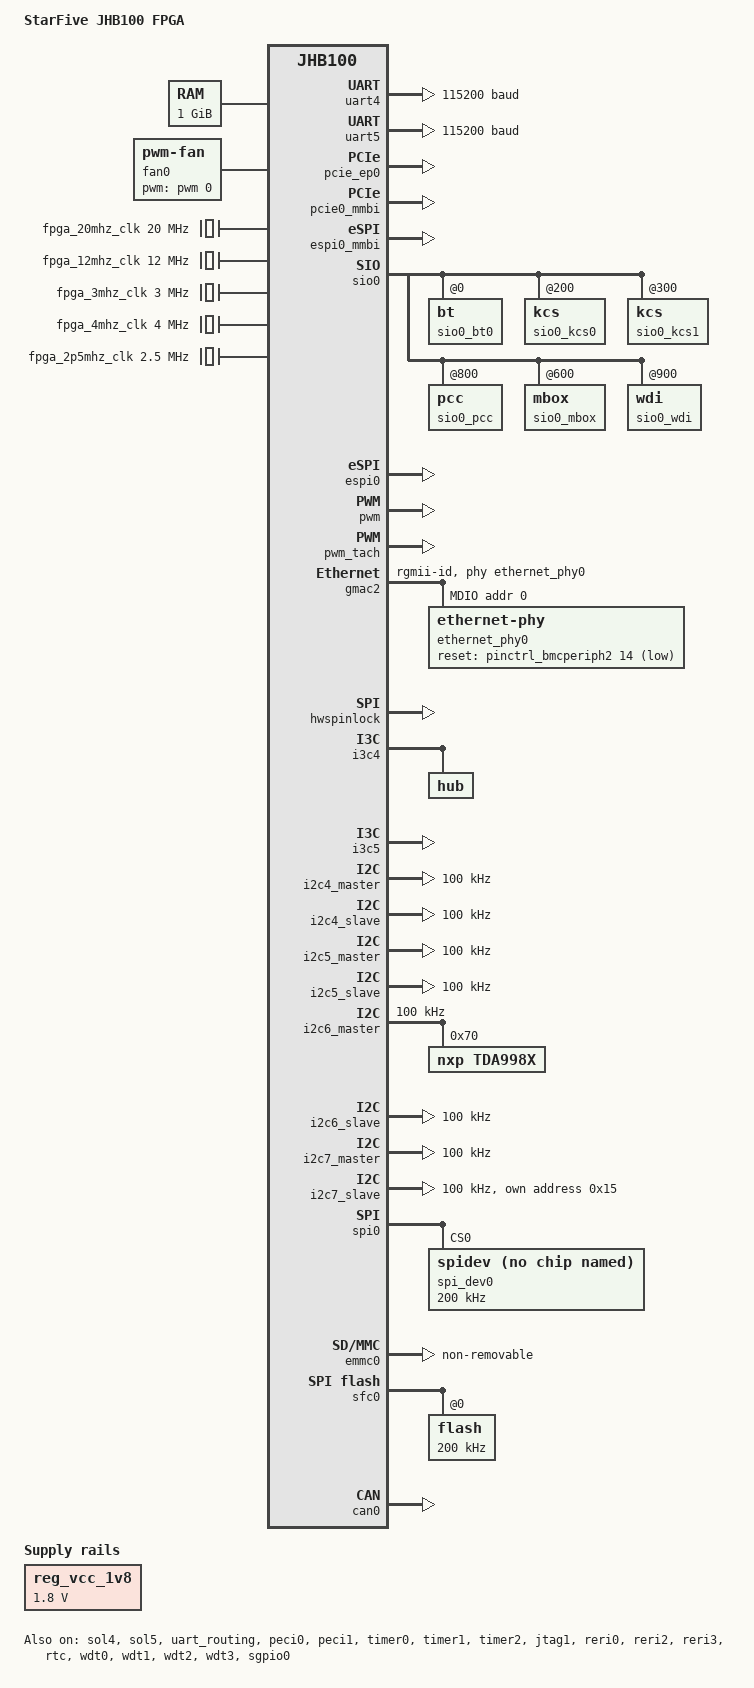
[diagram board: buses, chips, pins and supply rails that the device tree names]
// SPDX-License-Identifier: GPL-2.0 OR MIT
/*
 * Copyright (c) 2024 StarFive Technology Co., Ltd.
 */

#include "jhb100.dtsi"
#include "jhb100-evb1-sfc0-flash.dtsi"
#include <dt-bindings/gpio/gpio.h>
#include <dt-bindings/i2c/i2c.h>

/ {
	model = "StarFive JHB100 FPGA";
	compatible = "starfive,jhb100-fpga", "starfive,jhb100";

	aliases {
		serial0 = &uart5;
		serial1 = &uart4;
		ethernet0 = &gmac0;
		ethernet1 = &gmac1;
		ethernet2 = &gmac2;
		ethernet3 = &gmac3;

		i2c0 = &i2c0_master;
		i2c1 = &i2c0_slave;

		i2c2 = &i2c1_master;
		i2c3 = &i2c1_slave;

		i2c4 = &i2c2_master;
		i2c5 = &i2c2_slave;

		i2c6 = &i2c3_master;
		i2c7 = &i2c3_slave;

		i2c8 = &i2c4_master;
		i2c9 = &i2c4_slave;

		i2c10 = &i2c5_master;
		i2c11 = &i2c5_slave;

		i2c12 = &i2c6_master;
		i2c13 = &i2c6_slave;

		i2c14 = &i2c7_master;
		i2c15 = &i2c7_slave;

		i2c16 = &i2c8_master;
		i2c17 = &i2c8_slave;

		i2c18 = &i2c9_master;
		i2c19 = &i2c9_slave;

		i2c20 = &i2c10_master;
		i2c21 = &i2c10_slave;

		i2c22 = &i2c11_master;
		i2c23 = &i2c11_slave;

		i2c24 = &i2c12_master;
		i2c25 = &i2c12_slave;

		i2c26 = &i2c13_master;
		i2c27 = &i2c13_slave;

		i2c28 = &i2c14_master;
		i2c29 = &i2c14_slave;

		i2c30 = &i2c15_master;
		i2c31 = &i2c15_slave;

		i3c0 = &i3c0;
		i3c1 = &i3c1;
		i3c2 = &i3c2;
		i3c3 = &i3c3;
		i3c4 = &i3c4;
		i3c5 = &i3c5;
		i3c6 = &i3c6;
		i3c7 = &i3c7;
		i3c8 = &i3c8;
		i3c9 = &i3c9;
		i3c10 = &i3c10;
		i3c11 = &i3c11;
		i3c12 = &i3c12;
		i3c13 = &i3c13;
		i3c14 = &i3c14;
		i3c15 = &i3c15;
	};

	reg_vcc_1v8: vcc-1v8 {
		compatible = "regulator-fixed";
		regulator-name = "vcc-1v8";
		regulator-min-microvolt = <1800000>;
		regulator-max-microvolt = <1800000>;
	};

	chosen {
		stdout-path = "serial0:115200n8";
	};

	cpus {
		timebase-frequency = <4000000>;
	};

	memory {
		device_type = "memory";
		reg = <0x0 0x40000000 0x0 0x40000000>;	/* 1GB */
	};

	reserved-memory {
		#address-cells = <0x2>;
		#size-cells = <0x2>;
		ranges;

		#include "jhb100-reserved-mem.dtsi"

		linux,cma {
			compatible = "shared-dma-pool";
			reusable;
			size = <0x0 0x08000000>;
			alignment = <0x0 0x1000>;
			alloc-ranges = <0x0 0x40000000 0x2 0x0>;
			linux,cma-default;
		};
	};

	fan0: pwm-fan0 {
		compatible = "pwm-fan";
		pwms = <&pwm 0 40000 0>;
		cooling-min-state = <0>;
		cooling-max-state = <3>;
		#cooling-cells = <2>;
		cooling-levels = <0 100 180 255>;
	};

	soc {
		fpga_20mhz_clk: fpga_20mhz_clk {
			compatible = "fixed-clock";
			#clock-cells = <0>;
			clock-frequency = <20000000>;
		};

		fpga_12mhz_clk: fpga_12mhz_clk {
			compatible = "fixed-clock";
			#clock-cells = <0>;
			clock-frequency = <12000000>;
		};

		fpga_3mhz_clk: fpga_3mhz_clk {
			compatible = "fixed-clock";
			#clock-cells = <0>;
			clock-frequency = <3000000>;
		};

		fpga_4mhz_clk: fpga_4mhz_clk {
			compatible = "fixed-clock";
			#clock-cells = <0>;
			clock-frequency = <4000000>;
		};

		fpga_2p5mhz_clk: fpga_2p5mhz_clk {
			compatible = "fixed-clock";
			#clock-cells = <0>;
			clock-frequency = <2500000>;
		};
	};
};

&pinctrl_adc0 {
	status = "disabled";
};

&pinctrl_adc1 {
	status = "disabled";
};

&pinctrl_sys0h {

	gpio-line-names =
		"ESPI_IO0", "ESPI_IO1", "ESPI_IO2", "ESPI_IO3",
		"ESPI_CLK", "ESPI_CS", "ESPI_ALERT", "ESPI_RESET";

	espi0_pins: espi0-grp {
		espi0-rst-pins {
			pinmux = <PINMUX(PADNUM_SYSTOP_SYS0H_GPIO_A11,
					 FUNC_SYSTOP_SYS0H_ESPI0_RESET)>;
			input-enable;
		};

		espi0-alt-pins {
			pinmux = <PINMUX(PADNUM_SYSTOP_SYS0H_GPIO_A10,
					 FUNC_SYSTOP_SYS0H_ESPI0_ALERT)>;
		};

		espi0-cs-pins {
			pinmux = <PINMUX(PADNUM_SYSTOP_SYS0H_GPIO_A9,
					 FUNC_SYSTOP_SYS0H_ESPI0_CS)>;
			bias-pull-up;
			input-enable;
		};

		espi0-clk-pins {
			pinmux = <PINMUX(PADNUM_SYSTOP_SYS0H_GPIO_A8,
					 FUNC_SYSTOP_SYS0H_ESPI0_CLK)>;
			bias-pull-down;
			input-enable;
		};

		espi0-io0-pins {
			pinmux = <PINMUX(PADNUM_SYSTOP_SYS0H_GPIO_A4,
					 FUNC_SYSTOP_SYS0H_ESPI0_DATA0)>;
			bias-pull-up;
			input-enable;
		};

		espi0-io1-pins {
			pinmux = <PINMUX(PADNUM_SYSTOP_SYS0H_GPIO_A5,
					 FUNC_SYSTOP_SYS0H_ESPI0_DATA1)>;
			bias-pull-up;
			input-enable;

		};

		espi0-io2-pins {
			pinmux = <PINMUX(PADNUM_SYSTOP_SYS0H_GPIO_A6,
					 FUNC_SYSTOP_SYS0H_ESPI0_DATA2)>;
			bias-pull-up;
			input-enable;
		};

		espi0-io3-pins {
			pinmux = <PINMUX(PADNUM_SYSTOP_SYS0H_GPIO_A7,
					 FUNC_SYSTOP_SYS0H_ESPI0_DATA3)>;
			bias-pull-up;
			input-enable;
		};
	};
};

&pinctrl_sys2 {
	gpio-line-names =
		"", "", "", "",
		"", "", "", "",
		"", "", "UART4_TX", "UART4_RX",
		"UART5_TX", "UART5_RX", "", "",
		"", "", "", "",
		"", "", "", "",
		"", "", "", "",
		"JTAGM_TDI", "JTAGM_TRST", "JTAGM_TMS", "JTAGM_TCK",
		"JTAGM_TDO", "", "", "";

	uart4_pins: uart4-grp {
		uart4_tx-pins {
			pinmux = <PINMUX(PADNUM_SYSTOP_SYS2_GPIO_A34,
					 FUNC_SYSTOP_SYS2_UART4_TX)>;
		};

		uart4_rx-pins {
			pinmux = <PINMUX(PADNUM_SYSTOP_SYS2_GPIO_A35,
					 FUNC_SYSTOP_SYS2_UART4_RX)>;
			bias-pull-up;
			input-enable;
		};
	};

	uart5_pins: uart5-grp {
		uart5_tx-pins {
			pinmux = <PINMUX(PADNUM_SYSTOP_SYS2_GPIO_A36,
					 FUNC_SYSTOP_SYS2_UART5_TX)>;
		};

		uart5_rx-pins {
			pinmux = <PINMUX(PADNUM_SYSTOP_SYS2_GPIO_A37,
					 FUNC_SYSTOP_SYS2_UART5_RX)>;
			bias-pull-up;
			input-enable;
		};
	};

	jtagm1_pins: jtagm1-grp {
		jtagm1_tdi-pins {
			pinmux = <PINMUX(PADNUM_SYSTOP_SYS2_GPIO_A52,
					 FUNC_SYSTOP_SYS2_JTAG_MST_TDI)>;
			input-enable;
			bias-pull-up;
		};

		jtagm1_trstn-pins {
			pinmux = <PINMUX(PADNUM_SYSTOP_SYS2_GPIO_A53,
					 FUNC_SYSTOP_SYS2_JTAG_MST_TRST_N)>;
			input-enable;
			bias-pull-up;
		};

		jtagm1_tms-pins {
			pinmux = <PINMUX(PADNUM_SYSTOP_SYS2_GPIO_A54,
					 FUNC_SYSTOP_SYS2_JTAG_MST_TMS)>;
			input-enable;
			bias-pull-up;
		};

		jtagm1_tck-pins {
			pinmux = <PINMUX(PADNUM_SYSTOP_SYS2_GPIO_A55,
					 FUNC_SYSTOP_SYS2_JTAG_MST_TCK)>;

			input-enable;
			bias-pull-up;
		};

		jtagm1_tdo-pins {
			pinmux = <PINMUX(PADNUM_SYSTOP_SYS2_GPIO_A56,
					 FUNC_SYSTOP_SYS2_JTAG_MST_TDO)>;
			input-enable;
			bias-pull-up;
		};
	};
};

&pinctrl_bmcperiph0 {
	gpio-line-names =
		"", "", "", "",
		"", "", "", "",
		"I3C4_SCL", "I3C4_SDA", "I3C5_SCL", "I3C5_SDA",
		"I2C6_SCL", "I2C6_SDA", "I2C7_SCL", "I2C7_SDA",
		"", "", "", "",
		"", "", "", "",
		"MDIO0_MDC", "MDIO0_MDIO", "", "";

	i3c4_pins: i3c4-grp {
		i3c4_scl-pins {
			pinmux = <PINMUX(PADNUM_BMCPERIPH0_GPIO_B8,
					 FUNC_BMCPERIPH0_MIPI_I3C4_SCL0)>;
		};

		i3c4_sda-pins{
			pinmux = <PINMUX(PADNUM_BMCPERIPH0_GPIO_B9,
					 FUNC_BMCPERIPH0_MIPI_I3C4_SDA0)>;
			bias-pull-up;
			input-enable;
		};
	};

	i3c5_pins: i3c5-grp {
		i3c5_scl-pins {
			pinmux = <PINMUX(PADNUM_BMCPERIPH0_GPIO_B10,
					 FUNC_BMCPERIPH0_MIPI_I3C5_SCL0)>;
		};

		i3c5_sda-pins{
			pinmux = <PINMUX(PADNUM_BMCPERIPH0_GPIO_B11,
					 FUNC_BMCPERIPH0_MIPI_I3C5_SDA0)>;
			bias-pull-up;
			input-enable;
		};
	};

	i2c4_pins: i2c4-grp {
		i2c4_scl-pins {
			pinmux = <PINMUX(PADNUM_BMCPERIPH0_GPIO_B8,
					 FUNC_BMCPERIPH0_I2C4_CLK)>;
		};

		i2c4_sda-pins{
			pinmux = <PINMUX(PADNUM_BMCPERIPH0_GPIO_B9,
					 FUNC_BMCPERIPH0_I2C4_DATA)>;
			bias-pull-up;
			input-enable;
		};
	};

	i2c5_pins: i2c5-grp {
		i2c5_scl-pins {
			pinmux = <PINMUX(PADNUM_BMCPERIPH0_GPIO_B10,
					 FUNC_BMCPERIPH0_I2C5_CLK)>;
		};

		i2c5_sda-pins{
			pinmux = <PINMUX(PADNUM_BMCPERIPH0_GPIO_B11,
					 FUNC_BMCPERIPH0_I2C5_DATA)>;
			bias-pull-up;
			input-enable;
		};
	};

	i2c6_pins: i2c6-grp {
		i2c6_scl-pins {
			pinmux = <PINMUX(PADNUM_BMCPERIPH0_GPIO_B12,
					 FUNC_BMCPERIPH0_I2C6_CLK)>;
		};

		i2c6_sda-pins{
			pinmux = <PINMUX(PADNUM_BMCPERIPH0_GPIO_B13,
					 FUNC_BMCPERIPH0_I2C6_DATA)>;
			bias-pull-up;
			input-enable;
		};
	};

	i2c7_pins: i2c7-grp {
		i2c7_scl-pins {
			pinmux = <PINMUX(PADNUM_BMCPERIPH0_GPIO_B14,
					 FUNC_BMCPERIPH0_I2C7_CLK)>;
		};

		i2c7_sda-pins{
			pinmux = <PINMUX(PADNUM_BMCPERIPH0_GPIO_B15,
					 FUNC_BMCPERIPH0_I2C7_DATA)>;
			bias-pull-up;
			input-enable;
		};
	};

	mdio0_pins: mdio0-grp {
		mdio0_mdc-pins {
			pinmux = <PINMUX(PADNUM_BMCPERIPH0_GPIO_B24,
					 FUNC_BMCPERIPH0_GMAC2_MDC)>;
		};

		mdio0_mdio-pins {
			pinmux = <PINMUX(PADNUM_BMCPERIPH0_GPIO_B25,
					 FUNC_BMCPERIPH0_GMAC2_MDIO)>;
			bias-pull-up;
			input-enable;
		};
	};
};

&pinctrl_bmcperiph1 {
	gpio-line-names =
		"SPI0_CS0", "SPI0_CS1", "SPI0_SCLK", "SPI0_TX",
		"SPI0_RX", "SFC0_CS0", "SFC0_CS1", "SFC0_SCLK",
		"SFC0_IO0", "SFC0_IO1", "SFC0_IO2", "SFC0_IO3",
		"", "", "", "",
		"", "", "", "",
		"", "", "", "",
		"", "", "", "",
		"SGPIO0_CLK", "SGPIO0_LD", "SGPIO0_DO", "SGPIO0_DI",
		"SGPIO1_CLK", "SGPIO1_LD", "SGPIO1_DO", "SGPIO1_DI";

	spi0_pins: spi0-grp {
		spi0_sclk-pins {
			pinmux = <PINMUX(PADNUM_BMCPERIPH1_GPIO_C2,
					 FUNC_BMCPERIPH1_SPI0_SCLK_OUT)>;
		};

		spi0_cs0-pins {
			pinmux = <PINMUX(PADNUM_BMCPERIPH1_GPIO_C0,
					 FUNC_BMCPERIPH1_SPI0_N_SS_OUT_0)>;
			bias-pull-up;
		};

		spi0_cs1-pins {
			pinmux = <PINMUX(PADNUM_BMCPERIPH1_GPIO_C1,
					 FUNC_BMCPERIPH1_SPI0_N_SS_OUT_1)>;
			bias-pull-up;
		};

		spi0_tx-pins {
			pinmux = <PINMUX(PADNUM_BMCPERIPH1_GPIO_C3,
					 FUNC_BMCPERIPH1_SPI0_TX)>;
			input-enable;
		};

		spi0_rx-pins {
			pinmux = <PINMUX(PADNUM_BMCPERIPH1_GPIO_C4,
					 FUNC_BMCPERIPH1_SPI0_RX)>;
			input-enable;
		};
	};

	sfc0_pins: sfc0-grp {
		sfc0_sclk-pins {
			pinmux = <PINMUX(PADNUM_BMCPERIPH1_GPIO_C7,
					 FUNC_BMCPERIPH1_SFC0_SCLK_OUT)>;
		};

		sfc0_cs0-pins {
			pinmux = <PINMUX(PADNUM_BMCPERIPH1_GPIO_C5,
					 FUNC_BMCPERIPH1_SFC0_N_SS_OUT_0)>;
			bias-pull-up;
		};

		sfc0_cs1-pins {
			pinmux = <PINMUX(PADNUM_BMCPERIPH1_GPIO_C6,
					 FUNC_BMCPERIPH1_SFC0_N_SS_OUT_1)>;
			bias-pull-up;
		};

		sfc0_io0-pins {
			pinmux = <PINMUX(PADNUM_BMCPERIPH1_GPIO_C8,
					 FUNC_BMCPERIPH1_SFC0_IO0)>;
			input-enable;
		};

		sfc0_io1-pins {
			pinmux = <PINMUX(PADNUM_BMCPERIPH1_GPIO_C9,
					 FUNC_BMCPERIPH1_SFC0_IO1)>;
			input-enable;
		};

		sfc0_io2-pins {
			pinmux = <PINMUX(PADNUM_BMCPERIPH1_GPIO_C10,
					 FUNC_BMCPERIPH1_SFC0_IO2)>;
			input-enable;
		};

		sfc0_io3-pins {
			pinmux = <PINMUX(PADNUM_BMCPERIPH1_GPIO_C11,
					 FUNC_BMCPERIPH1_SFC0_IO3)>;
			input-enable;
		};
	};

	sgpio0_pins: sgpio0-grp {
		sgpio0_mclk-pins {
			pinmux = <PINMUX(PADNUM_BMCPERIPH1_GPIO_C28,
					FUNC_BMCPERIPH1_SGPIO0_M_CLK)>;
		};

		sgpio0_mld-pins {
			pinmux = <PINMUX(PADNUM_BMCPERIPH1_GPIO_C29,
					FUNC_BMCPERIPH1_SGPIO0_M_LOAD)>;
		};

		sgpio0_mdo-pins {
			pinmux = <PINMUX(PADNUM_BMCPERIPH1_GPIO_C30,
					FUNC_BMCPERIPH1_SGPIO0_M_DATA_OUT)>;
		};

		sgpio0_mdi-pins {
			pinmux = <PINMUX(PADNUM_BMCPERIPH1_GPIO_C31,
					FUNC_BMCPERIPH1_SGPIO0_M_DATA_IN)>;
			input-enable;
		};
	};

	sgpio1_pins: sgpio1-grp {
		sgpio1_mclk-pins {
			pinmux = <PINMUX(PADNUM_BMCPERIPH1_GPIO_C32,
					FUNC_BMCPERIPH1_SGPIO1_M_CLK)>;
		};

		sgpio1_mld-pins {
			pinmux = <PINMUX(PADNUM_BMCPERIPH1_GPIO_C33,
					FUNC_BMCPERIPH1_SGPIO1_M_LOAD)>;
		};

		sgpio1_mdo-pins {
			pinmux = <PINMUX(PADNUM_BMCPERIPH1_GPIO_C34,
					FUNC_BMCPERIPH1_SGPIO1_M_DATA_OUT)>;
		};

		sgpio1_mdi-pins {
			pinmux = <PINMUX(PADNUM_BMCPERIPH1_GPIO_C35,
					FUNC_BMCPERIPH1_SGPIO1_M_DATA_IN)>;
			input-enable;
		};
	};
};

&pinctrl_emmc {
	gpio-line-names =
		"EMMC0_CLK", "EMMC0_RST", "EMMC0_CMD", "EMMC0_DQS",
		"EMMC0_DATA0", "EMMC0_DATA1", "EMMC0_DATA2", "EMMC0_DATA3",
		"EMMC0_DATA4", "EMMC0_DATA5", "EMMC0_DATA6", "EMMC0_DATA7";

	emmc0_pins: emmc0-grp {
		emmc0_clk-pins {
			pinmux = <PINMUX(PADNUM_EMMC0_GPIO_F5,
					 FUNC_EMMC0_CLK)>;
		};

		emmc0_rst-pins {
			pinmux = <PINMUX(PADNUM_EMMC0_GPIO_F10,
					 FUNC_EMMC0_RST_N)>;
		};

		emmc0_cmd-pins {
			pinmux = <PINMUX(PADNUM_EMMC0_GPIO_F4,
					 FUNC_EMMC0_CMD)>;
		};

		emmc0_dqs-pins {
			pinmux = <PINMUX(PADNUM_EMMC0_GPIO_F11,
					 FUNC_EMMC0_DQS)>;
		};

		emmc0_data0-pins {
			pinmux = <PINMUX(PADNUM_EMMC0_GPIO_F0,
					 FUNC_EMMC0_DATA0)>;
		};

		emmc0_data1-pins {
			pinmux = <PINMUX(PADNUM_EMMC0_GPIO_F1,
					 FUNC_EMMC0_DATA1)>;
		};

		emmc0_data2-pins {
			pinmux = <PINMUX(PADNUM_EMMC0_GPIO_F2,
					 FUNC_EMMC0_DATA2)>;
		};

		emmc0_data3-pins {
			pinmux = <PINMUX(PADNUM_EMMC0_GPIO_F3,
					 FUNC_EMMC0_DATA3)>;
		};

		emmc0_data4-pins {
			pinmux = <PINMUX(PADNUM_EMMC0_GPIO_F9,
					 FUNC_EMMC0_DATA4)>;
		};

		emmc0_data5-pins {
			pinmux = <PINMUX(PADNUM_EMMC0_GPIO_F8,
					 FUNC_EMMC0_DATA5)>;
		};

		emmc0_data6-pins {
			pinmux = <PINMUX(PADNUM_EMMC0_GPIO_F7,
					 FUNC_EMMC0_DATA6)>;
		};

		emmc0_data7-pins {
			pinmux = <PINMUX(PADNUM_EMMC0_GPIO_F6,
					 FUNC_EMMC0_DATA7)>;
		};
	};
};

&pinctrl_bmcperiph2 {
	gpio-line-names =
		"PWM_TACH0", "", "", "",
		"", "", "", "",
		"", "", "", "",
		"", "", "", "",
		"", "", "GMAC2_PHY_RESET", "GMAC2_RXCLK",
		"GMAC2_RXDV", "GMAC2_RXD0", "GMAC2_RXD1", "GMAC2_RXD2",
		"GMAC2_RXD3", "GMAC2_TXCLK", "GMAC2_TXEN", "GMAC2_TXD0",
		"GMAC2_TXD1", "GMAC2_TXD2", "GMAC2_TXD3", "";

	pwm_tach_pins: pwm-tach-grp {
		pwm_tach0-pins {
			pinmux = <PINMUX(PADNUM_BMCPERIPH2_GPIO_D0,
					 FUNC_BMCPERIPH2_FAN0_TACH_I_0)>;
		};
	};

	gmac2_pins: gmac2-grp {
		gmac2_txen-pins {
			pinmux = <PINMUX(PADNUM_BMCPERIPH2_GPIO_D26,
					 FUNC_BMCPERIPH2_GMAC2_RGMII_TXCTL)>;
			starfive,gmac_vsel = <0>;
		};

		gmac2_txclk-pins {
			pinmux = <PINMUX(PADNUM_BMCPERIPH2_GPIO_D25,
					 FUNC_BMCPERIPH2_GMAC2_RGMII_TX_CLK)>;
			starfive,gmac_vsel = <0>;
		};

		gmac2_txd0-pins {
			pinmux = <PINMUX(PADNUM_BMCPERIPH2_GPIO_D27,
					 FUNC_BMCPERIPH2_GMAC2_RGMII_PHY_TX0)>;
			starfive,gmac_vsel = <0>;
		};

		gmac2_txd1-pins {
			pinmux = <PINMUX(PADNUM_BMCPERIPH2_GPIO_D28,
					 FUNC_BMCPERIPH2_GMAC2_RGMII_PHY_TX1)>;
			starfive,gmac_vsel = <0>;
		};

		gmac2_txd2-pins {
			pinmux = <PINMUX(PADNUM_BMCPERIPH2_GPIO_D29,
					 FUNC_BMCPERIPH2_GMAC2_RGMII_PHY_TX2)>;
			starfive,gmac_vsel = <0>;
		};

		gmac2_txd3-pins {
			pinmux = <PINMUX(PADNUM_BMCPERIPH2_GPIO_D30,
					 FUNC_BMCPERIPH2_GMAC2_RGMII_PHY_TX3)>;
			starfive,gmac_vsel = <0>;
		};

		gmac2_rxclk-pins {
			pinmux = <PINMUX(PADNUM_BMCPERIPH2_GPIO_D19,
					 FUNC_BMCPERIPH2_GMAC2_RGMII_RX_CLK)>;
			input-enable;
			starfive,gmac_vsel = <0>;
		};

		gmac2_rxdv-pins {
			pinmux = <PINMUX(PADNUM_BMCPERIPH2_GPIO_D20,
					 FUNC_BMCPERIPH2_GMAC2_RGMII_RXCTL)>;
			input-enable;
			starfive,gmac_vsel = <0>;
		};

		gmac2_rxd0-pins {
			pinmux = <PINMUX(PADNUM_BMCPERIPH2_GPIO_D21,
					 FUNC_BMCPERIPH2_GMAC2_RGMII_PHY_RXD0)>;
			input-enable;
			starfive,gmac_vsel = <0>;
		};

		gmac2_rxd1-pins {
			pinmux = <PINMUX(PADNUM_BMCPERIPH2_GPIO_D22,
					 FUNC_BMCPERIPH2_GMAC2_RGMII_PHY_RXD1)>;
			input-enable;
			starfive,gmac_vsel = <0>;
		};

		gmac2_rxd2-pins {
			pinmux = <PINMUX(PADNUM_BMCPERIPH2_GPIO_D23,
					 FUNC_BMCPERIPH2_GMAC2_RGMII_PHY_RXD2)>;
			input-enable;
			starfive,gmac_vsel = <0>;
		};

		gmac2_rxd3-pins {
			pinmux = <PINMUX(PADNUM_BMCPERIPH2_GPIO_D24,
					 FUNC_BMCPERIPH2_GMAC2_RGMII_PHY_RXD3)>;
			input-enable;
			starfive,gmac_vsel = <0>;
		};
	};
};

&pinctrl_bmcperiph2_pok {
	gpio-line-names =
		"", "", "", "",
		"", "", "", "",
		"", "", "PWM_CH0", "",
		"", "", "", "",
		"", "", "", "",
		"", "", "", "",
		"", "", "", "",
		"", "", "", "";

	can0_pins: can0-grp {
		can0_tx-pins {
			pinmux = <PINMUX(PADNUM_BMCPERIPH2_POK_GPIO_D31,
					 FUNC_BMCPERIPH2_POK_CAN0_TXD)>;
			input-enable;
		};

		can0_rx-pins {
			pinmux = <PINMUX(PADNUM_BMCPERIPH2_POK_GPIO_D32,
					 FUNC_BMCPERIPH2_POK_CAN0_RXD)>;
			input-enable;
		};

		can0_stby-pins {
			pinmux = <PINMUX(PADNUM_BMCPERIPH2_POK_GPIO_D33,
					 FUNC_BMCPERIPH2_POK_CAN0_STBY)>;
			input-enable;
		};
	};

	pwm_ch_pins: pwm-grp {
		pwm_ch0-pins {
			pinmux = <PINMUX(PADNUM_BMCPERIPH2_POK_GPIO_D41,
					 FUNC_BMCPERIPH2_POK_PWM0_CHANNEL0)>;
			bias-disable;
			input-disable;
		};
	};
};

&pinctrl_vga_vdac {
	status = "disabled";
};

&uart4 {
	status = "okay";
	clocks = <&fpga_4mhz_clk>, <&fpga_4mhz_clk>;
	clock-frequency = <4000000>;
	current-speed = <115200>;
	pinctrl-names = "default";
	pinctrl-0 = <&uart4_pins>;
};

&uart5 {
	status = "okay";
	clocks = <&fpga_4mhz_clk>, <&fpga_4mhz_clk>;
	clock-frequency = <4000000>;
	current-speed = <115200>;
	pinctrl-names = "default";
	pinctrl-0 = <&uart5_pins>;
};

&sol4 {
	memory-region = <&sol_tx_mem_uncache>,
			<&sol_rx_mem_uncache>;
	tx-size = <3>;
	rx-size = <3>;
	dev-id = <4>;
	status = "okay";
};

&sol5 {
	memory-region = <&sol_tx_mem_uncache>,
			<&sol_rx_mem_uncache>;
	tx-size = <3>;
	rx-size = <3>;
	dev-id = <5>;
	status = "okay";
};

&pcie_ep0 {
	memory-region = <&pcie0_media_mem_uncache>,
			<&pcie0_user_mem_uncache>,
			<&pcie0_mmbi_buffer_uncache>,
			<&pcie0_hdma_mem_uncache>;
	status = "okay";
};

&pcie0_mctp {
	status = "disabled";
};

&uart_routing {
	starfive,chsel = /bits/ 8 <0 0 0 0 0 0 0 0 0 0 0 0 0 0 0>;
	status = "okay";
};

&pcie1_mctp {
	status = "disabled";
};

&pcierp_mctp {
	status = "disabled";
};

&pcie0_mmbi {
	mmbi-instance-num = <8>;
	mmbi-instance-size = <0x10000>;
	mmbi-src-addr-offset = <0>;
	mmbi-osuse = /bits/ 8 <1 1 1 1 1 1 1 1>;
	memory-region = <&pcie0_mmbi_buffer_uncache>;
	starfive,raise-irq-syscon = <&pcie_ep0_ecsr 0x700 0xd>;
	starfive,rst-en-syscon = <&strap_reg 0x50 0x400>;
	status = "okay";
};

&peci0 {
	status = "okay";
};

&peci1 {
	status = "okay";
};

&espi0_mmbi {
	mmbi-instance-num = <1>;
	mmbi-instance-size = <0x10000>;
	mmbi-src-addr-offset = <0x10000>;
	mmbi-osuse = /bits/ 8 <0 0 0 0 0 0 0 0>;
	memory-region = <&espi0_mmbi_buffer_uncache>;
	status = "okay";
};

&sio0 {
	status = "okay";

	sio0_bt0: bt@0 {
		status = "okay";
	};

	sio0_kcs0: kcs@200 {
		status = "okay";
	};

	sio0_kcs1: kcs@300 {
		status = "okay";
	};

	sio0_pcc: pcc@800 {
		starfive,pcc-threshold = <0>;
		status = "okay";
	};

	sio0_mbox: mbox@600 {
		status = "okay";
	};

	sio0_wdi: wdi@900 {
		status = "okay";
	};
};

&espi0 {
	espi-wait-state = <15>;
	starfive,flash-mtd-device = "Data";
	starfive,host-src-addr = /bits/ 64 <0xf6810000>;
	perif-memcyc-size = <0x400000>;
	memory-region = <&espi0_mmbi_buffer_uncache>,
			<&espi0_perif_mem_uncache>,
			<&espi0_vw_mem_uncache>;

	starfive,bt-remap-num = <1>;
	starfive,kcs-remap-num = <1>;
	starfive,uart-remap-num = <1>;
	starfive,misc-remap-num = <1>;
	starfive,bt-io-addr = /bits/ 32 <0xe4>;
	starfive,kcs-io-addr = /bits/ 32 <0xca2>;
	starfive,uart-io-addr = /bits/ 32 <0x3f8>;
	starfive,wdi-io-addr = /bits/ 32 <0xa00>;
	starfive,mbox-io-addr = /bits/ 32 <0x300>;
	starfive,misc-io-addr = /bits/ 32 <0x480>;
	starfive,misc-sys-addr = /bits/ 32 <0x105c10c0>;

	starfive,vgpio_dir_bits = /bits/ 64 <0x00000000ffffffff 0x0000000000000000>;
	starfive,vgpio_lvl_bits = /bits/ 64 <0x0000000000000000 0x0000000000000000>;
	starfive,vgpio_phy_bits = /bits/ 64 <0x000000000000000f 0x0000000000000000>;

	pinctrl-names = "default";
	pinctrl-0 = <&espi0_pins>;

	status = "okay";
};

&pwm {
	clocks = <&fpga_12mhz_clk>;
	pinctrl-names = "default";
	pinctrl-0 = <&pwm_ch_pins>;
	#pwm-cells = <3>;
	status = "okay";
};

&pwm_tach {
	clocks = <&fpga_12mhz_clk>;
	pinctrl-names = "default";
	pinctrl-0 = <&pwm_tach_pins>;
	status = "okay";
	fan@0 {
		tach-ch = <0x0>;
	};
};

&gmac2 {
	clocks = <&fpga_12mhz_clk>,
		 <&fpga_12mhz_clk>,
		 <&fpga_12mhz_clk>,
		 <&fpga_2p5mhz_clk>;
	snps,clk-csr = <5>;
	starfive,tx-use-rgmii-clk;
	phy-mode = "rgmii-id";
	phy-handle = <&ethernet_phy0>;
	status = "okay";
	pinctrl-names = "default";
	pinctrl-0 = <&gmac2_pins &mdio0_pins>;

	mdio0 {
		compatible = "snps,dwmac-mdio";
		#address-cells = <1>;
		#size-cells = <0>;
		ethernet_phy0: ethernet-phy@0 {
			reg = <0>;
			max-speed = <10>;
			device_type = "ethernet-phy";
			reset-gpios = <&pinctrl_bmcperiph2 14 GPIO_ACTIVE_LOW>;
			reset-assert-us = <15000>;
			reset-deassert-us = <15000>;
			marvell,reg-init =
				<0x0 0x4 0 0x0441>, /*Page 0, Reg 4 <- 0x0441*/
				<0x12 0x14 0 0x0>, /*Page 18, Reg 20 <- 0x0*/
				<0x0 0x0 0 0x1100>; /*Page 0, Reg 0 <- 0x1100*/
		};
	};
};

&timer0 {
	clocks = <&per0crg JHB100_PER0CLK_PCLK_DUALTIMER0>,
		 <&fpga_12mhz_clk>,
		 <&fpga_12mhz_clk>;
	status = "okay";
};

&timer1 {
	clocks = <&per0crg JHB100_PER0CLK_PCLK_DUALTIMER1>,
		 <&fpga_12mhz_clk>,
		 <&fpga_12mhz_clk>;
	status = "okay";
};

&timer2 {
	clocks = <&per0crg JHB100_PER0CLK_PCLK_DUALTIMER2>,
		 <&fpga_12mhz_clk>,
		 <&fpga_12mhz_clk>;
	status = "okay";
};

&hwspinlock {
	status = "okay";
};

&dma_i3c {
	status = "okay";
	clocks = <&fpga_12mhz_clk>, <&fpga_12mhz_clk>;
};

&i3c4 {
	status = "okay";
	clocks = <&fpga_12mhz_clk>;
	i2c-scl-hz = <400000>;
	i3c-scl-hz = <1000000>;
	mode = "master";
	hotjoin;
	pinctrl-names = "default";
	pinctrl-0 = <&i3c4_pins>;
	is-mng;
	dmas = <&dma_i3c 4 9 8>;
	dma-names = "rx-tx";
	vcc-supply = <&reg_vcc_1v8>;
	#address-cells = <3>;
	#size-cells = <0>;

	hub@0,0 {
		reg = <0x0 0x0 0x0>;
		cp0-ldo-en = "disabled";
		cp1-ldo-en = "disabled";
		cp0-ldo-volt = "1.8V";
		cp1-ldo-volt = "1.8V";
		tp0145-ldo-en = "disabled";
		tp2367-ldo-en = "disabled";
		tp0145-ldo-volt = "1.0V";
		tp2367-ldo-volt = "1.0V";
		tp0145-pullup = "2k";
		tp2367-pullup = "2k";
		tp0145-io-strength = "50Ohms";
		tp2367-io-strength = "50Ohms";

		target-port@0 {
			mode = "i3c";
			pullup = "enabled";
		};
		target-port@1 {
			mode = "disabled";
			pullup = "disabled";
		};
		target-port@2 {
			mode = "disabled";
			pullup = "disabled";
		};
		target-port@3 {
			mode = "disabled";
			pullup = "disabled";
		};
		target-port@4 {
			mode = "disabled";
			pullup = "disabled";
		};
		target-port@5 {
			mode = "disabled";
			pullup = "disabled";
		};
		target-port@6 {
			mode = "disabled";
			pullup = "disabled";
		};
		target-port@7 {
			mode = "disabled";
			pullup = "disabled";
		};
	};
};

&i3c5 {
	status = "okay";
	clocks = <&fpga_12mhz_clk>;
	i3c-scl-hz = <1000000>;
	mode = "target";
	pid = <0x123 0x45543210>;
	/* static-address = /bits/ 8 <0x48>; */
	dcr = /bits/ 8 <0x0>;
	hotjoin-request;
	/* pec-private-transfer; */
	pinctrl-names = "default";
	pinctrl-0 = <&i3c5_pins>;
	dmas = <&dma_i3c 5 11 10>;
	dma-names = "rx-tx";
	vcc-supply = <&reg_vcc_1v8>;
};

&i2c4_master {
	clocks = <&fpga_12mhz_clk>, <&fpga_12mhz_clk>;
	clock-frequency = <100000>;
	/* pinctrl-names = "default"; */
	/* pinctrl-0 = <&i2c4_pins>; */
};

&i2c4_slave {
	clocks = <&fpga_12mhz_clk>, <&fpga_12mhz_clk>;
	clock-frequency = <100000>;
	/* pinctrl-names = "default"; */
	/* pinctrl-0 = <&i2c4_pins>; */
};

&i2c5_master {
	clocks = <&fpga_12mhz_clk>, <&fpga_12mhz_clk>;
	clock-frequency = <100000>;
	/* pinctrl-names = "default"; */
	/* pinctrl-0 = <&i2c5_pins>; */
};

&i2c5_slave {
	clocks = <&fpga_12mhz_clk>, <&fpga_12mhz_clk>;
	clock-frequency = <100000>;
	/* pinctrl-names = "default"; */
	/* pinctrl-0 = <&i2c5_pins>; */
};

&i2c6_master {
	clocks = <&fpga_12mhz_clk>, <&fpga_12mhz_clk>;
	clock-frequency = <100000>;
	pinctrl-names = "default";
	pinctrl-0 = <&i2c6_pins>;
	status = "okay";

	tda998x@70 {
		compatible = "nxp,tda998x";
		reg = <0x70>;
	};
};

&i2c6_slave {
	clocks = <&fpga_12mhz_clk>, <&fpga_12mhz_clk>;
	clock-frequency = <100000>;
	pinctrl-names = "default";
	pinctrl-0 = <&i2c6_pins>;
};

&i2c7_master {
	clocks = <&fpga_12mhz_clk>, <&fpga_12mhz_clk>;
	clock-frequency = <100000>;
	pinctrl-names = "default";
	pinctrl-0 = <&i2c7_pins>;
	status = "okay";
};

&i2c7_slave {
	clocks = <&fpga_12mhz_clk>, <&fpga_12mhz_clk>;
	clock-frequency = <100000>;
	/* pinctrl-names = "default"; */
	/* pinctrl-0 = <&i2c7_pins>; */
	compatible = "starfive,jhb100-dwc-i2c-slave";
	status = "okay";

	starfive,mctp-i2c-ms = <&i2c7_master>;
	mctp-controller;
	mctp@15 {
		compatible = "mctp-i2c-controller";
		reg = <(0x15 | I2C_OWN_SLAVE_ADDRESS)>;
	};
};

&jtag1 {
	clocks = <&sys2crg JHB100_SYS2CLK_MAIN_ICG_EN_JTAG1>,
		 <&fpga_12mhz_clk>,
		 <&fpga_12mhz_clk>;
	pinctrl-names = "jtag";
	pinctrl-0 = <&jtagm1_pins>;
	starfive,jtag_clk_constant;
	starfive,jtag_bit_quirk;
	status = "okay";
};

&reri0 {
	status = "okay";
};

&reri2 {
	status = "okay";
};

&reri3 {
	status = "okay";
};

&dma_uart {
	status = "okay";
	clocks = <&fpga_12mhz_clk>,
		<&fpga_12mhz_clk>;
};

&dma_sfc0 {
	status = "okay";
	clocks = <&fpga_12mhz_clk>, <&fpga_12mhz_clk>;
};

&dma_spi0 {
	status = "okay";
	clocks = <&fpga_12mhz_clk>, <&fpga_12mhz_clk>;
};

&rtc {
	status = "okay";
};

&dma_i2c {
	status = "disabled";
	clocks = <&fpga_12mhz_clk>, <&fpga_12mhz_clk>;
};

&spi0 {
	status = "okay";
	clocks = <&fpga_12mhz_clk>, <&fpga_12mhz_clk>;
	pinctrl-names = "default";
	pinctrl-0 = <&spi0_pins>;

	spi_dev0: spi@0 {
		compatible = "rohm,dh2228fv";
		spi-max-frequency = <200000>;
		reg = <0>;
	};
};

&wdt0 {
	status = "okay";
};

&wdt1 {
	status = "okay";
};

&wdt2 {
	status = "okay";
};

&wdt3 {
	status = "okay";
};

&wdt_ext {
	status = "disabled";
};

&emmc0 {
	status = "okay";
	mmc-hs400-1_8v;
	max-frequency = <400000>;
	non-removable;
	pinctrl-names = "default";
	pinctrl-0 = <&emmc0_pins>;
};

&sgpio0 {
	pinctrl-names = "default";
	pinctrl-0 = <&sgpio0_pins>;
	status = "okay";

	gpio-line-names =
		"", "P80_DOUT0", "", "P80_DOUT1", "", "P80_DOUT2", "", "P80_DOUT3",
		"", "P80_DOUT4", "", "P80_DOUT5", "", "P80_DOUT6", "", "P80_DOUT7",
		"", "", "", "", "", "", "", "",
		"", "", "", "", "", "", "", "",
		"", "", "", "", "", "", "", "",
		"", "", "", "", "", "", "", "",
		"", "", "", "", "", "", "", "",
		"", "", "", "", "", "", "", "",
		"", "", "", "", "", "", "", "",
		"", "", "", "", "", "", "", "",
		"", "", "", "", "", "", "", "",
		"", "", "", "", "", "", "", "",
		"", "", "", "", "", "", "", "",
		"", "", "", "", "", "", "", "",
		"", "", "", "", "", "", "", "",
		"", "", "", "", "", "", "", "",
		"", "", "", "", "", "", "", "",
		"", "", "", "", "", "", "", "",
		"", "", "", "", "", "", "", "",
		"", "", "", "", "", "", "", "",
		"", "", "", "", "", "", "", "",
		"", "", "", "", "", "", "", "",
		"", "", "", "", "", "", "", "",
		"", "", "", "", "", "", "", "",
		"", "", "", "", "", "", "", "BMC_BOOT_DONE",
		"", "", "", "", "", "", "", "",
		"", "", "", "", "", "", "", "",
		"", "", "", "", "", "", "", "",
		"", "", "", "", "", "", "", "",
		"", "", "", "", "", "", "", "",
		"", "", "", "", "", "", "", "",
		"", "", "", "", "", "", "", "";
};

&sgpio1 {
	pinctrl-names = "default";
	pinctrl-0 = <&sgpio1_pins>;
	status = "disabled";

	gpio-line-names =
		"", "P80_DOUT0", "", "P80_DOUT1", "", "P80_DOUT2", "", "P80_DOUT3",
		"", "P80_DOUT4", "", "P80_DOUT5", "", "P80_DOUT6", "", "P80_DOUT7",
		"", "", "", "", "", "", "", "",
		"", "", "", "", "", "", "", "",
		"", "", "", "", "", "", "", "",
		"", "", "", "", "", "", "", "",
		"", "", "", "", "", "", "", "",
		"", "", "", "", "", "", "", "",
		"", "", "", "", "", "", "", "",
		"", "", "", "", "", "", "", "",
		"", "", "", "", "", "", "", "",
		"", "", "", "", "", "", "", "",
		"", "", "", "", "", "", "", "",
		"", "", "", "", "", "", "", "",
		"", "", "", "", "", "", "", "",
		"", "", "", "", "", "", "", "",
		"", "", "", "", "", "", "", "",
		"", "", "", "", "", "", "", "",
		"", "", "", "", "", "", "", "",
		"", "", "", "", "", "", "", "",
		"", "", "", "", "", "", "", "",
		"", "", "", "", "", "", "", "",
		"", "", "", "", "", "", "", "",
		"", "", "", "", "", "", "", "",
		"", "", "", "", "", "", "", "BMC_BOOT_DONE",
		"", "", "", "", "", "", "", "",
		"", "", "", "", "", "", "", "",
		"", "", "", "", "", "", "", "",
		"", "", "", "", "", "", "", "",
		"", "", "", "", "", "", "", "",
		"", "", "", "", "", "", "", "",
		"", "", "", "", "", "", "", "";
};

&dc0_clk {
	status = "disabled";
	clocks = <&fpga_12mhz_clk>, <&fpga_12mhz_clk>;
};

&sfc0 {
	clocks = <&fpga_12mhz_clk>;

	flash@0 {
		spi-max-frequency = <200000>;
	};
};

&can0 {
	status = "okay";
	clocks = <&fpga_20mhz_clk>, <&fpga_20mhz_clk>;
	pinctrl-names = "default";
	pinctrl-0 = <&can0_pins>;
};
